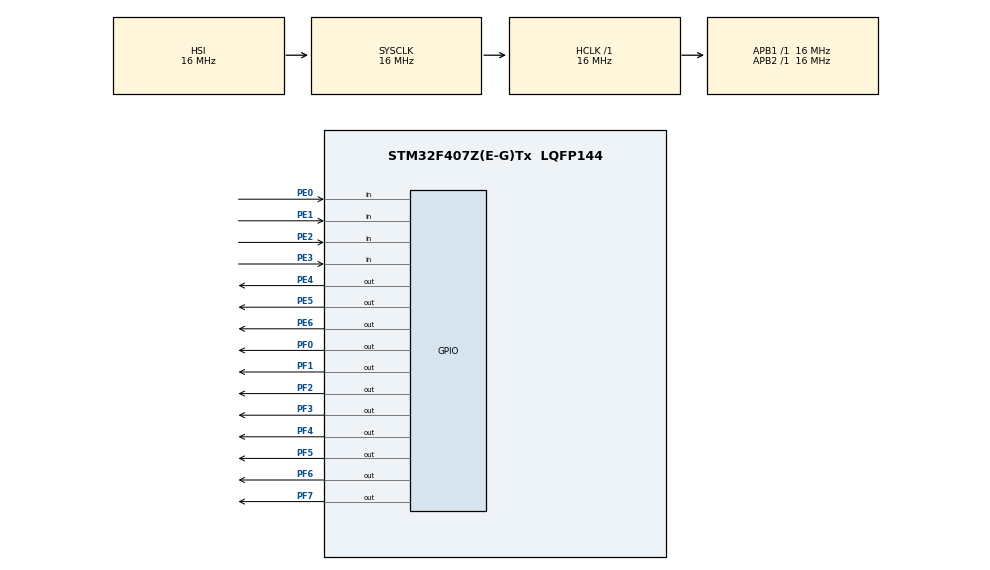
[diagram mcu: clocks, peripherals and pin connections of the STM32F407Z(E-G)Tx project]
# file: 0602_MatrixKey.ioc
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Mcu.Family=STM32F4
Mcu.Name=STM32F407Z(E-G)Tx
Mcu.Package=LQFP144
NVIC.PriorityGroup=NVIC_PRIORITYGROUP_4
PA13.Mode=Serial_Wire
PA13.Signal=SYS_JTMS-SWDIO
PA14.Mode=Serial_Wire
PA14.Signal=SYS_JTCK-SWCLK
PE0.GPIO_PuPd=GPIO_NOPULL
PE0.Signal=GPIO_Input
PE1.GPIO_PuPd=GPIO_NOPULL
PE1.Signal=GPIO_Input
PE2.GPIO_PuPd=GPIO_NOPULL
PE2.Signal=GPIO_Input
PE3.GPIO_PuPd=GPIO_NOPULL
PE3.Signal=GPIO_Input
PE4.Signal=GPIO_Output
PE5.Signal=GPIO_Output
PE6.Signal=GPIO_Output
PF0.PinState=GPIO_PIN_SET
PF0.Signal=GPIO_Output
PF1.PinState=GPIO_PIN_SET
PF1.Signal=GPIO_Output
PF2.PinState=GPIO_PIN_SET
PF2.Signal=GPIO_Output
PF3.PinState=GPIO_PIN_SET
PF3.Signal=GPIO_Output
PF4.PinState=GPIO_PIN_SET
PF4.Signal=GPIO_Output
PF5.PinState=GPIO_PIN_SET
PF5.Signal=GPIO_Output
PF6.PinState=GPIO_PIN_SET
PF6.Signal=GPIO_Output
PF7.PinState=GPIO_PIN_SET
PF7.Signal=GPIO_Output
ProjectManager.HeapSize=0x200
ProjectManager.StackSize=0x400
ProjectManager.TargetToolchain=MDK-ARM V5.32
RCC.AHBFreq_Value=16000000
RCC.APB1Freq_Value=16000000
RCC.APB2Freq_Value=16000000
RCC.CortexFreq_Value=16000000
RCC.HSE_VALUE=25000000
RCC.HSI_VALUE=16000000
RCC.LSE_VALUE=32768
RCC.SYSCLKFreq_VALUE=16000000
RCC.VCOOutputFreq_Value=192000000
board=custom

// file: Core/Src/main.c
/* USER CODE BEGIN Header */
/**
  ******************************************************************************
  * @file           : main.c
  * @brief          : Main program body
  ******************************************************************************
  * @attention
  *
  * Copyright (c) 2026 STMicroelectronics.
  * All rights reserved.
  *
  * This software is licensed under terms that can be found in the LICENSE file
  * in the root directory of this software component.
  * If no LICENSE file comes with this software, it is provided AS-IS.
  ******************************************************************************
  */
/* USER CODE END Header */
#include "main.h"

/* USER CODE BEGIN PD */
#define ROW_NUM     3
#define COL_NUM     4
uint16_t ROW_PIN[ROW_NUM] = {GPIO_PIN_4, GPIO_PIN_5, GPIO_PIN_6};
uint16_t COL_PIN[COL_NUM] = {GPIO_PIN_0, GPIO_PIN_1, GPIO_PIN_2, GPIO_PIN_3};
/* USER CODE END PD */

void SystemClock_Config(void);
static void MX_GPIO_Init(void);
/* USER CODE BEGIN PFP */
uint8_t KeyScan(void);
/* USER CODE END PFP */

/* USER CODE BEGIN 0 */
/**
 * @brief 3行4列矩阵键盘扫描
 * @retval 0:无按键  1~12 按键编号
 */
uint8_t KeyScan(void)
{
  uint8_t row, col;
  uint8_t key_val = 0;

  //所有行拉高
  for(row = 0; row < ROW_NUM; row++)
  {
    HAL_GPIO_WritePin(GPIOE, ROW_PIN[row], GPIO_PIN_SET);
  }

  for(row = 0; row < ROW_NUM; row++)
  {
    //全部行先拉高，单独拉低当前行
    for(uint8_t i = 0; i < ROW_NUM; i++)
    {
      HAL_GPIO_WritePin(GPIOE, ROW_PIN[i], GPIO_PIN_SET);
    }
    HAL_GPIO_WritePin(GPIOE, ROW_PIN[row], GPIO_PIN_RESET);

    HAL_Delay(1);
    for(col = 0; col < COL_NUM; col++)
    {
      if(HAL_GPIO_ReadPin(GPIOE, COL_PIN[col]) == GPIO_PIN_RESET)
      {
        HAL_Delay(10);   //消抖
        if(HAL_GPIO_ReadPin(GPIOE, COL_PIN[col]) == GPIO_PIN_RESET)
        {
          key_val = row * COL_NUM + col + 1;
          while(HAL_GPIO_ReadPin(GPIOE, COL_PIN[col]) == GPIO_PIN_RESET); //等待松手
          HAL_Delay(10);
          return key_val;
        }
      }
    }
  }
  return 0;
}
/* USER CODE END 0 */

int main(void)
{

  /* USER CODE BEGIN 1 */
  uint8_t key;
  uint8_t bcd;
  /* USER CODE END 1 */

  /* MCU Configuration--------------------------------------------------------*/

  /* Reset of all peripherals, Initializes the Flash interface and the Systick. */
  HAL_Init();

  /* Configure the system clock */
  SystemClock_Config();

  /* Initialize all configured peripherals */
  MX_GPIO_Init();
  /* USER CODE BEGIN 2 */
  //上电LED全部熄灭（低电平点亮：默认输出高）
  HAL_GPIO_WritePin(GPIOF, GPIO_PIN_0|GPIO_PIN_1|GPIO_PIN_2|GPIO_PIN_3
                          |GPIO_PIN_4|GPIO_PIN_5|GPIO_PIN_6|GPIO_PIN_7, GPIO_PIN_SET);
  /* USER CODE END 2 */

  /* Infinite loop */
  /* USER CODE BEGIN WHILE */
  while (1)
  {
    key = KeyScan();
    if(key != 0)
    {
      //只处理K1~K10
      if(key >= 1 && key <= 10)
      {
        bcd = key;
        //全部熄灭
        HAL_GPIO_WritePin(GPIOF, GPIO_PIN_0|GPIO_PIN_1|GPIO_PIN_2|GPIO_PIN_3
                                |GPIO_PIN_4|GPIO_PIN_5|GPIO_PIN_6|GPIO_PIN_7, GPIO_PIN_SET);

        //8421 BCD  L1(PF0)=1  L2(PF1)=2  L3(PF2)=4  L4(PF3)=8
        if(bcd & (1 << 0))  HAL_GPIO_WritePin(GPIOF, GPIO_PIN_0, GPIO_PIN_RESET);
        if(bcd & (1 << 1))  HAL_GPIO_WritePin(GPIOF, GPIO_PIN_1, GPIO_PIN_RESET);
        if(bcd & (1 << 2))  HAL_GPIO_WritePin(GPIOF, GPIO_PIN_2, GPIO_PIN_RESET);
        if(bcd & (1 << 3))  HAL_GPIO_WritePin(GPIOF, GPIO_PIN_3, GPIO_PIN_RESET);
      }
    }
    HAL_Delay(20);
    /* USER CODE END WHILE */

  }
}

void SystemClock_Config(void)
{
  RCC_OscInitTypeDef RCC_OscInitStruct = {0};
  RCC_ClkInitTypeDef RCC_ClkInitStruct = {0};

  /** Configure the main internal regulator output voltage
  */
  __HAL_RCC_PWR_CLK_ENABLE();
  __HAL_PWR_VOLTAGESCALING_CONFIG(PWR_REGULATOR_VOLTAGE_SCALE1);

  /** Initializes the RCC Oscillators according to the specified parameters
  * in the RCC_OscInitTypeDef structure.
  */
  RCC_OscInitStruct.OscillatorType = RCC_OSCILLATORTYPE_HSI;
  RCC_OscInitStruct.HSIState = RCC_HSI_ON;
  RCC_OscInitStruct.HSICalibrationValue = RCC_HSICALIBRATION_DEFAULT;
  RCC_OscInitStruct.PLL.PLLState = RCC_PLL_NONE;
  if (HAL_RCC_OscConfig(&RCC_OscInitStruct) != HAL_OK)
  {
    Error_Handler();
  }

  /** Initializes the CPU, AHB and APB buses clocks
  */
  RCC_ClkInitStruct.ClockType = RCC_CLOCKTYPE_HCLK|RCC_CLOCKTYPE_SYSCLK
                              |RCC_CLOCKTYPE_PCLK1|RCC_CLOCKTYPE_PCLK2;
  RCC_ClkInitStruct.SYSCLKSource = RCC_SYSCLKSOURCE_HSI;
  RCC_ClkInitStruct.AHBCLKDivider = RCC_SYSCLK_DIV1;
  RCC_ClkInitStruct.APB1CLKDivider = RCC_HCLK_DIV1;
  RCC_ClkInitStruct.APB2CLKDivider = RCC_HCLK_DIV1;

  if (HAL_RCC_ClockConfig(&RCC_ClkInitStruct, FLASH_LATENCY_0) != HAL_OK)
  {
    Error_Handler();
  }
}

static void MX_GPIO_Init(void)
{
  GPIO_InitTypeDef GPIO_InitStruct = {0};

  /* GPIO Ports Clock Enable */
  __HAL_RCC_GPIOE_CLK_ENABLE();
  __HAL_RCC_GPIOF_CLK_ENABLE();
  __HAL_RCC_GPIOA_CLK_ENABLE();

  /*Configure GPIO pin Output Level */
  HAL_GPIO_WritePin(GPIOE, GPIO_PIN_4|GPIO_PIN_5|GPIO_PIN_6, GPIO_PIN_RESET);

  /*Configure GPIO pin Output Level */
  HAL_GPIO_WritePin(GPIOF, GPIO_PIN_0|GPIO_PIN_1|GPIO_PIN_2|GPIO_PIN_3
                          |GPIO_PIN_4|GPIO_PIN_5|GPIO_PIN_6|GPIO_PIN_7, GPIO_PIN_SET);

  /*Configure GPIO pins : PE2 PE3 PE0 PE1 */
  GPIO_InitStruct.Pin = GPIO_PIN_2|GPIO_PIN_3|GPIO_PIN_0|GPIO_PIN_1;
  GPIO_InitStruct.Mode = GPIO_MODE_INPUT;
  GPIO_InitStruct.Pull = GPIO_PULLUP;
  HAL_GPIO_Init(GPIOE, &GPIO_InitStruct);

  /*Configure GPIO pins : PE4 PE5 PE6 */
  GPIO_InitStruct.Pin = GPIO_PIN_4|GPIO_PIN_5|GPIO_PIN_6;
  GPIO_InitStruct.Mode = GPIO_MODE_OUTPUT_PP;
  GPIO_InitStruct.Pull = GPIO_NOPULL;
  GPIO_InitStruct.Speed = GPIO_SPEED_FREQ_LOW;
  HAL_GPIO_Init(GPIOE, &GPIO_InitStruct);

  /*Configure GPIO pins : PF0 PF1 PF2 PF3
                           PF4 PF5 PF6 PF7 */
  GPIO_InitStruct.Pin = GPIO_PIN_0|GPIO_PIN_1|GPIO_PIN_2|GPIO_PIN_3
                          |GPIO_PIN_4|GPIO_PIN_5|GPIO_PIN_6|GPIO_PIN_7;
  GPIO_InitStruct.Mode = GPIO_MODE_OUTPUT_PP;
  GPIO_InitStruct.Pull = GPIO_NOPULL;
  GPIO_InitStruct.Speed = GPIO_SPEED_FREQ_LOW;
  HAL_GPIO_Init(GPIOF, &GPIO_InitStruct);

}

void Error_Handler(void)
{
  __disable_irq();
  while (1)
  {
  }
}
